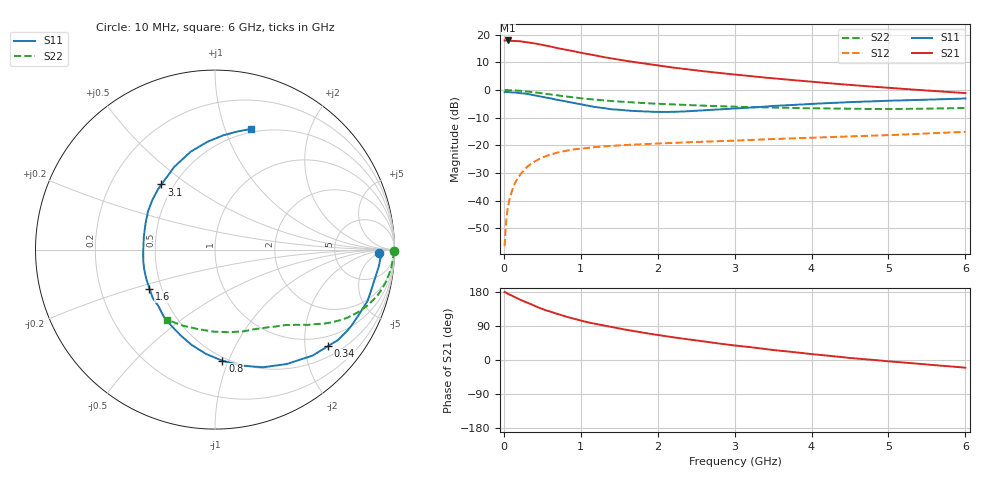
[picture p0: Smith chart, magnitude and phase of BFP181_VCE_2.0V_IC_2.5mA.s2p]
! Infineon Technologies  Discrete & RF Semiconductors
! BFP181
! VCE = 2.0 V,  IC =  2.5 mA
! Common Emitter S-Parameters:  Jan 2016
# GHz  S  MA  R  50
!  f  S11  S21  S12  S22
! GHz  MAG  ANG  MAG  ANG  MAG  ANG  MAG  ANG
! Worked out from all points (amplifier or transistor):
!   210 points, 10 MHz to 6 GHz, reference 50 ohm
!   highest |S21| = 17.9 dB at 50 MHz (marker M1)
!   |S21| within 3 dB of that: start of sweep to 740.5 MHz
!   unconditionally stable (mu >= 1): 2.186 GHz to end of sweep
!   at 185 MHz: K = 0.11, MSG = 24.7 dB, |S12| = -31.8 dB
!   at 1.52 GHz: K = 0.77, MSG = 15.4 dB, |S12| = -20.0 dB
!   at 6 GHz: K = 1.12, MAG = 4.9 dB, |S12| = -15.1 dB
!   S11 on the Smith chart (normalised r, x): 10 MHz: 21, -5; 340 MHz: 0.74, -2.52; 800 MHz: 0.47, -0.95; 1.6 GHz: 0.43, -0.23; 3.1 GHz: 0.43, +0.40; 6 GHz: 0.46, +1.23
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0.01  0.9141 -1.3  7.841 179.3  0.0015 79.9  0.9955 -0.5
0.025  0.9227 -3.1  7.815 178.0  0.0034 85.2  0.9977 -1.5
0.05  0.9174 -5.9  7.846 175.1  0.0072 90.6  0.9921 -2.8
0.115  0.8992 -14.3  7.697 168.7  0.0163 81.1  0.9854 -6.3
0.2  0.8791 -24.6  7.618 160.4  0.0277 75.9  0.9694 -10.8
0.26  0.8647 -31.5  7.406 154.9  0.0354 72.0  0.9518 -13.8
0.34  0.828 -40.5  7.13 148.2  0.0446 66.0  0.9268 -17.4
0.4  0.8027 -47.4  6.96 142.5  0.0509 63.0  0.9069 -20.0
0.5  0.7516 -58.1  6.532 134.4  0.06 57.5  0.8684 -23.8
0.6  0.7082 -67.8  6.142 127.5  0.0678 52.8  0.8308 -27.1
0.7  0.6626 -77.2  5.688 121.0  0.0739 48.9  0.7964 -29.7
0.8  0.6205 -86.2  5.376 114.9  0.0792 45.5  0.7651 -32.0
1.02  0.5402 -105.2  4.653 103.1  0.0876 39.3  0.7024 -36.2
1.1  0.5151 -111.8  4.453 99.1  0.0904 37.3  0.6847 -37.5
1.3  0.4703 -127.4  3.919 90.9  0.0955 33.8  0.6465 -40.4
1.6  0.4253 -149.1  3.339 79.4  0.1016 30.1  0.6056 -43.9
2.02  0.4002 -178.6  2.742 65.4  0.1078 26.7  0.5609 -49.0
2.4  0.4133 159.5  2.351 54.3  0.1134 24.4  0.5332 -54.0
3.1  0.4698 129.4  1.84 36.2  0.123 21.5  0.4937 -64.2
4.1  0.5689 101.8  1.371 13.7  0.1384 17.8  0.4635 -82.6
5.1  0.6435 84.6  1.068 -5.1  0.1543 14.8  0.4529 -104.0
6  0.7006 73.6  0.878 -20.3  0.1748 11.0  0.4727 -124.1
